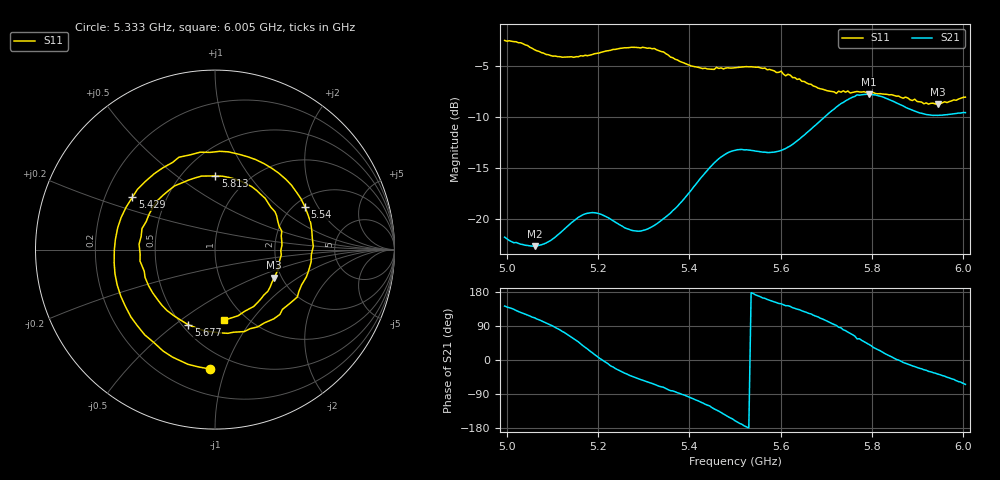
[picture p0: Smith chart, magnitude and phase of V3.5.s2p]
!File created by NanoVNA
# Hz S RI R 50
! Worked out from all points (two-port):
!   201 points, 4.995 GHz to 6.005 GHz, reference 50 ohm
!   highest |S21| = -7.78 dB at 5.793 GHz (marker M1); lowest = -22.6 dB at 5.061 GHz (marker M2)
!   |S21| within 3 dB of the highest: 5.677 GHz to end of sweep
!   lowest |S11| = -8.8 dB at 5.944 GHz (marker M3), VSWR 2.15, Z = 91.5 - j32.9 ohm
!   |S11| at or under -10 dB: nowhere
!   S12 and S22 are empty: the file has one direction only
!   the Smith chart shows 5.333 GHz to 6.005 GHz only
!   S11 on the Smith chart (normalised r, x): 5.333 GHz: 0.37, -0.89; 5.429 GHz: 0.32, +0.26; 5.54 GHz: 2.27, +1.56; 5.677 GHz: 0.54, -0.56; 5.813 GHz: 0.71, +0.71; 6.005 GHz: 0.80, -0.74
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4.995e9  0.239 -0.7083  -0.0648 0.0499  0 0  0 0
5.03035e9  -0.2799 -0.6725  -0.0439 0.0615  0 0  0 0
5.06065e9  -0.587 -0.3291  -0.0271 0.0688  0 0  0 0
5.1061e9  -0.5571 0.2879  0.00606 0.0817  0 0  0 0
5.1667e9  0.1036 0.619  0.0834 0.0643  0 0  0 0
5.21215e9  0.5507 0.3623  0.1043 -0.00453  0 0  0 0
5.25255e9  0.6816 -0.0778  0.0792 -0.0482  0 0  0 0
5.2879e9  0.5157 -0.4582  0.0573 -0.0661  0 0  0 0
5.33335e9  -0.0268 -0.6655  0.0343 -0.0905  0 0  0 0
5.38385e9  -0.5255 -0.2579  -0.00175 -0.1225  0 0  0 0
5.4293e9  -0.4605 0.2911  -0.0647 -0.1498  0 0  0 0
5.5e9  0.2278 0.501  -0.2044 -0.0732  0 0  0 0
5.5404e9  0.5014 0.2375  -0.2156 0.0188  0 0  0 0
5.601e9  0.4584 -0.2644  -0.1848 0.1137  0 0  0 0
5.6717e9  -0.1091 -0.4343  -0.1336 0.2488  0 0  0 0
5.67675e9  -0.1477 -0.4193  -0.1255 0.2599  0 0  0 0
5.73735e9  -0.4232 0.0295  0.0667 0.3665  0 0  0 0
5.7929e9  -0.1465 0.3874  0.3034 0.273  0 0  0 0
5.8131e9  0.00226 0.4103  0.3571 0.184  0 0  0 0
5.83835e9  0.1718 0.3675  0.3772 0.0737  0 0  0 0
5.9444e9  0.3296 -0.1559  0.2563 -0.1948  0 0  0 0
6.005e9  0.0481 -0.3923  0.1442 -0.2991  0 0  0 0
